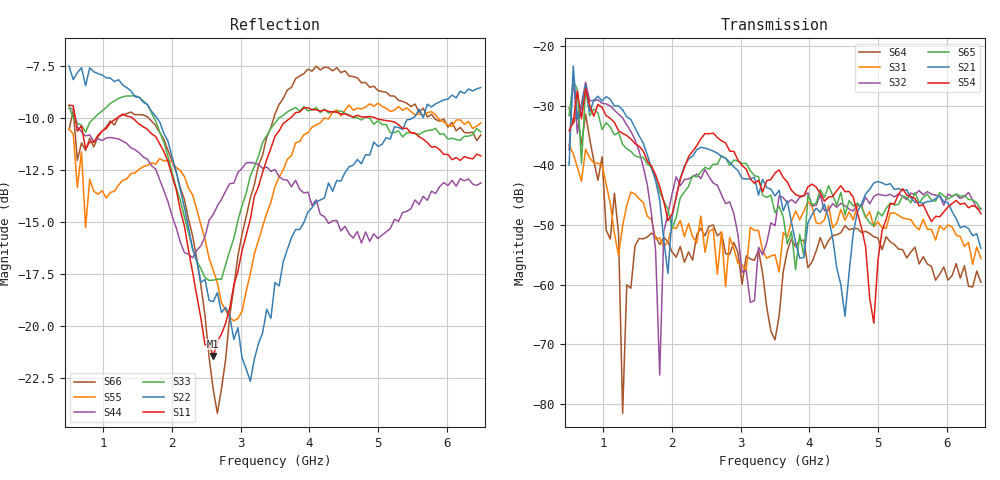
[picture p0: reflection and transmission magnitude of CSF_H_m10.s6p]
!Keysight Technologies,M9804A,MY58100912,A.14.10.03
!Date: Thursday, April 27, 2023 10:28:33
!Correction: S11(C  6-Port  )
!S12(C  6-Port  )
!S13(C  6-Port  )
!S14(C  6-Port  )
!S15(C  6-Port  )
!S16(C  6-Port  )
!S21(C  6-Port  )
!S22(C  6-Port  )
!S23(C  6-Port  )
!S24(C  6-Port  )
!S25(C  6-Port  )
!S26(C  6-Port  )
!S31(C  6-Port  )
!S32(C  6-Port  )
!S33(C  6-Port  )
!S34(C  6-Port  )
!S35(C  6-Port  )
!S36(C  6-Port  )
!S41(C  6-Port  )
!S42(C  6-Port  )
!S43(C  6-Port  )
!S44(C  6-Port  )
!S45(C  6-Port  )
!S46(C  6-Port  )
!S51(C  6-Port  )
!S52(C  6-Port  )
!S53(C  6-Port  )
!S54(C  6-Port  )
!S55(C  6-Port  )
!S56(C  6-Port  )
!S61(C  6-Port  )
!S62(C  6-Port  )
!S63(C  6-Port  )
!S64(C  6-Port  )
!S65(C  6-Port  )
!S66(C  6-Port  )
!S6P File: Measurement: :
# Hz S  RI  R 50
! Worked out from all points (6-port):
!   101 points, 500 MHz to 6.5 GHz, reference 50 ohm
!   strongest paths, dB at 500 MHz, 2 GHz, 3.5 GHz, 5 GHz, 6.5 GHz:
!     S54: -34.2, -48.2, -41.3, -55.9, -48.1
!     S21: -39.9, -48.7, -45.1, -42.7, -53.9
!     S65: -31.6, -50.6, -47.9, -47.8, -47.4
!     S32: -37.4, -44.8, -50.1, -44.8, -47.2
!     S31: -36.6, -50.4, -55.0, -49.5, -55.6
!     S64: -30.4, -54.5, -69.2, -52.2, -59.6
!   lowest |S11| = -21.4 dB at 2.6 GHz (marker M1), VSWR 1.19, Z = 42.5 + j2.15 ohm
!   |S11| at or under -10 dB: 589.8 MHz to 1.19 GHz (600.4 MHz wide, 67.5 % of centre); 1.426 GHz to 3.718 GHz (2.291 GHz wide, 89.1 % of centre); 4.975 GHz to end of sweep
